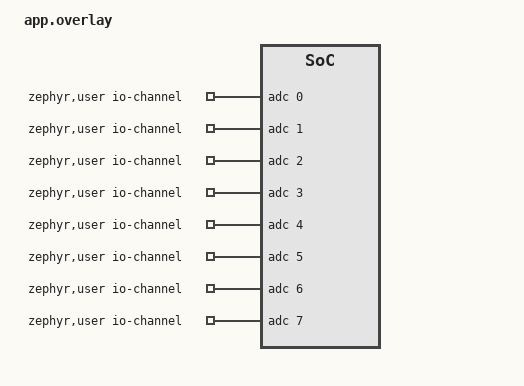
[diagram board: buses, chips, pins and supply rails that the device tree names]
/*
 * Optional board defaults — runtime display pins come from OpenDisplay config.
 */
/ {
	chosen {
		zephyr,console = &uart20;
	};

	/*
	 * Expose all 8 SAADC channels (board DTS channel@0..7 => AIN0..AIN7) so
	 * the battery driver can pick one at runtime by index from the
	 * configured battery_sense_pin (P1.0n => AINn).
	 */
	zephyr,user {
		io-channels = <&adc 0>, <&adc 1>, <&adc 2>, <&adc 3>,
			      <&adc 4>, <&adc 5>, <&adc 6>, <&adc 7>;
	};
};

/*
 * The display is driven by a GPIO bit-bang SPI on the OpenDisplay config pins
 * (P2.1 CLK, P2.2 DATA). The board enables the spi00 SPIM peripheral on those
 * same pads, so leaving it on lets the peripheral contend with the bit-bang
 * output and corrupts the panel data. No firmware path uses the Zephyr SPI API,
 * so keep the pins as plain GPIO.
 */
&spi00 {
	status = "disabled";
};

/* Onboard IMU is unused on the ePaper breakout; skip its failing boot probe. */
&lsm6ds3tr_c {
	status = "disabled";
};

/*
 * The board enables i2c22 on P1.10 (D4) and P1.11 (D5) as open-drain I2C with
 * pull-ups. The display BUSY line is on D5/P1.11, so leaving i2c22 on pins BUSY
 * high permanently (the I2C idle level) instead of following the panel — which
 * makes every bbepWaitBusy() time out. No firmware path uses the Zephyr I2C API,
 * so free the pin for GPIO use.
 */
&i2c22 {
	status = "disabled";
};
